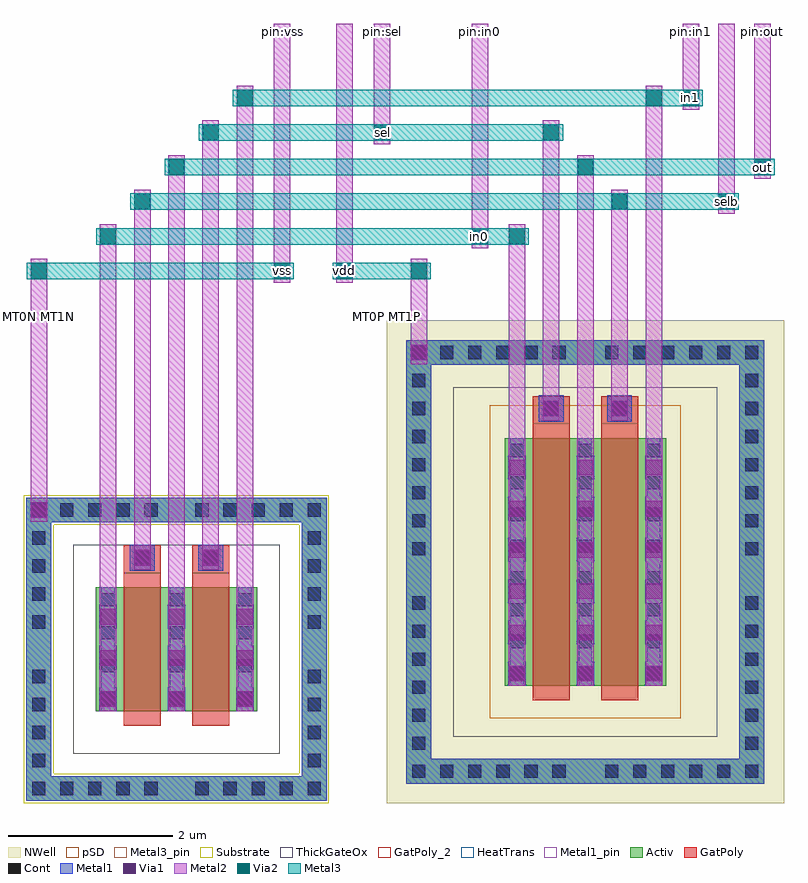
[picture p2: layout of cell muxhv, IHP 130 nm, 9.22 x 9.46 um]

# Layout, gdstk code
import gdstk
lib = gdstk.Library(unit=1e-6, precision=1e-09)
def R(c, l, rs):  # rectangles x0, y0, x1, y1
    for r in rs: c.add(gdstk.rectangle(r[:2], r[2:], *l))
def A(c, l, x, y, w, h, nx, ny, dx, dy):  # array of equal rectangles
    R(c, l, [(x+i*dx, y+j*dy, x+i*dx+w, y+j*dy+h) for i in range(nx) for j in range(ny)])
def P(c, l, *ps):  # polygons
    for p in ps: c.add(gdstk.Polygon(p, *l))
Activ = (1, 0)
GatPoly = (5, 0)
GatPoly_2 = (5, 2)
Cont = (6, 0)
Metal1 = (8, 0)
Metal1_pin = (8, 2)
Metal2 = (10, 0)
pSD = (14, 0)
Via1 = (19, 0)
Via2 = (29, 0)
Metal3 = (30, 0)
Metal3_pin = (30, 2)
NWell = (31, 0)
Substrate = (40, 0)
ThickGateOx = (44, 0)
HeatTrans = (51, 0)

nmoshv = lib.new_cell('nmosHV')
A(nmoshv, Activ, 0, 0, 0.3, 0.3, 3, 1, 0.83, 0)
R(nmoshv, Activ, [(0,0,1.96,1.5)])
R(nmoshv, GatPoly, [(0.34,-0.18,0.79,1.68), (1.17,-0.18,1.62,1.68)])
R(nmoshv, GatPoly_2, [(0.34,-0.18,0.79,1.68)])
A(nmoshv, Cont, 0.07, 0.07, 0.16, 0.16, 3, 4, 0.83, 0.4)
A(nmoshv, Metal1, 0.07, 0, 0.16, 1.5, 3, 1, 0.83, 0)
R(nmoshv, Metal1_pin, [(0.07,0,0.23,1.5), (0.9,0,1.06,1.5)])
R(nmoshv, ThickGateOx, [(-0.27,-0.52,2.23,2.02)])
R(nmoshv, HeatTrans, [(0.34,-0.18,0.79,1.68), (1.17,-0.18,1.62,1.68)])
nmoshv.add(gdstk.Label('nmosHV', (0.565,0.75), layer=63, texttype=0))
nmoshv.add(gdstk.Label('nmosHV', (0.565,0.75), layer=51, texttype=0))
nmoshv.add(gdstk.Label('nmosHV', (1.395,0.75), layer=51, texttype=0))

guard_ring = lib.new_cell('guard_ring')
R(guard_ring, Activ, [(-1.82,-1.54,-1.52,1.54), (1.52,-1.54,1.82,1.54), (-1.82,1.54,1.82,1.84)])
P(guard_ring, Activ, [(-1.82,-1.84),(-1.82,1.54),(-1.52,1.54),(-1.52,-1.54),(1.52,-1.54),(1.52,1.54),(-1.82,1.54),(-1.82,1.84),(1.82,1.84),(1.82,-1.84)])
A(guard_ring, Cont, -1.75, -1.77, 0.16, 0.16, 5, 2, 0.34, 3.38)
A(guard_ring, Cont, 0.23, -1.77, 0.16, 0.16, 5, 2, 0.34, 3.38)
A(guard_ring, Cont, -1.75, -1.43, 0.16, 0.16, 1, 4, 0, 0.34)
A(guard_ring, Cont, 1.59, -1.43, 0.16, 0.16, 1, 4, 0, 0.34)
A(guard_ring, Cont, -1.75, 0.25, 0.16, 0.16, 1, 4, 0, 0.34)
A(guard_ring, Cont, 1.59, 0.25, 0.16, 0.16, 1, 4, 0, 0.34)
R(guard_ring, Metal1, [(-1.82,-1.84,1.82,-1.54), (-1.82,-1.54,-1.52,1.54), (1.52,-1.54,1.82,1.54), (-1.82,1.54,1.82,1.84)])
R(guard_ring, pSD, [(-1.85,-1.51,-1.49,1.51), (1.49,-1.51,1.85,1.51), (-1.85,1.51,1.85,1.87)])
P(guard_ring, pSD, [(-1.85,-1.87),(-1.85,1.51),(-1.49,1.51),(-1.49,-1.51),(1.49,-1.51),(1.49,1.51),(-1.85,1.51),(-1.85,1.87),(1.85,1.87),(1.85,-1.87)])
R(guard_ring, Substrate, [(-1.85,-1.51,-1.49,1.51), (1.49,-1.51,1.85,1.51), (-1.85,1.51,1.85,1.87)])
P(guard_ring, Substrate, [(-1.85,-1.87),(-1.85,1.51),(-1.49,1.51),(-1.49,-1.51),(1.49,-1.51),(1.49,1.51),(-1.85,1.51),(-1.85,1.87),(1.85,1.87),(1.85,-1.87)])
guard_ring.add(gdstk.Label('sub!', (0,-1.69), layer=63, texttype=0))

pmoshv = lib.new_cell('pmosHV')
A(pmoshv, Activ, 0, 0, 0.3, 0.3, 3, 1, 0.83, 0)
R(pmoshv, Activ, [(0,0,1.96,3)])
R(pmoshv, GatPoly, [(0.34,-0.18,0.79,3.18), (1.17,-0.18,1.62,3.18)])
R(pmoshv, GatPoly_2, [(0.34,-0.18,0.79,3.18)])
A(pmoshv, Cont, 0.07, 0.07, 0.16, 0.16, 3, 7, 0.83, 0.385)
A(pmoshv, Cont, 0.07, 2.77, 0.16, 0.16, 3, 1, 0.83, 0)
A(pmoshv, Metal1, 0.07, 0, 0.16, 3, 3, 1, 0.83, 0)
R(pmoshv, Metal1_pin, [(0.07,0,0.23,3), (0.9,0,1.06,3)])
R(pmoshv, pSD, [(-0.18,-0.4,2.14,3.4)])
R(pmoshv, NWell, [(-0.62,-0.62,2.58,3.62)])
R(pmoshv, ThickGateOx, [(-0.62,-0.62,2.58,3.62)])
R(pmoshv, HeatTrans, [(0.34,-0.18,0.79,3.18), (1.17,-0.18,1.62,3.18)])
pmoshv.add(gdstk.Label('pmosHV', (0.565,1.5), layer=63, texttype=0))
pmoshv.add(gdstk.Label('pmos', (0.565,1.5), layer=51, texttype=0))
pmoshv.add(gdstk.Label('pmos', (1.395,1.5), layer=51, texttype=0))

guard_ring_1 = lib.new_cell('guard_ring$1')
R(guard_ring_1, Activ, [(-2.17,-2.39,-1.87,2.39), (1.87,-2.39,2.17,2.39), (-2.17,2.39,2.17,2.69)])
P(guard_ring_1, Activ, [(-2.17,-2.69),(-2.17,2.39),(-1.87,2.39),(-1.87,-2.39),(1.87,-2.39),(1.87,2.39),(-2.17,2.39),(-2.17,2.69),(2.17,2.69),(2.17,-2.69)])
A(guard_ring_1, Cont, -2.1, -2.62, 0.16, 0.16, 6, 2, 0.34, 5.08)
A(guard_ring_1, Cont, 0.24, -2.62, 0.16, 0.16, 6, 2, 0.34, 5.08)
A(guard_ring_1, Cont, -2.1, -2.28, 0.16, 0.16, 1, 6, 0, 0.34)
A(guard_ring_1, Cont, 1.94, -2.28, 0.16, 0.16, 1, 6, 0, 0.34)
A(guard_ring_1, Cont, -2.1, 0.08, 0.16, 0.16, 1, 7, 0, 0.34)
A(guard_ring_1, Cont, 1.94, 0.08, 0.16, 0.16, 1, 7, 0, 0.34)
R(guard_ring_1, Metal1, [(-2.17,-2.69,2.17,-2.39), (-2.17,-2.39,-1.87,2.39), (1.87,-2.39,2.17,2.39), (-2.17,2.39,2.17,2.69)])
R(guard_ring_1, NWell, [(-2.41,-2.93,2.41,2.93)])
guard_ring_1.add(gdstk.Label('well', (0,-2.54), layer=63, texttype=0))

muxhv = lib.new_cell('muxhv')
R(muxhv, GatPoly, [(1.21,2.8,1.66,3.13), (2.04,2.8,2.49,3.13), (6.17,4.61,6.62,4.94), (7,4.61,7.45,4.94)])
R(muxhv, Cont, [(1.355,2.9,1.515,3.06), (2.185,2.9,2.345,3.06), (6.315,4.71,6.475,4.87), (7.145,4.71,7.305,4.87)])
A(muxhv, Metal1, 0.915, 1.12, 0.21, 0.29, 3, 3, 0.83, 0.5)
A(muxhv, Metal1, 5.875, 1.43, 0.21, 0.29, 3, 6, 0.83, 0.5)
R(muxhv, Metal1, [(1.285,2.82,1.585,3.14), (2.115,2.82,2.415,3.14), (1.33,2.835,1.54,3.125), (2.16,2.835,2.37,3.125), (0.075,3.415,0.285,3.705), (6.245,4.63,6.545,4.95), (7.075,4.63,7.375,4.95), (6.29,4.645,6.5,4.935), (7.12,4.645,7.33,4.935), (4.685,5.325,4.895,5.615)])
R(muxhv, Metal2, [(0.92,1.12,1.12,7.025), (1.75,1.12,1.95,7.865), (2.58,1.12,2.78,8.705), (5.88,1.43,6.08,7.025), (6.71,1.43,6.91,7.865), (7.54,1.43,7.74,8.705), (1.335,2.835,1.535,7.445), (2.165,2.835,2.365,8.285), (0.08,3.415,0.28,6.605), (6.295,4.645,6.495,8.285), (7.125,4.645,7.325,7.445), (4.69,5.325,4.89,6.605), (3.03,6.315,3.23,9.46), (3.79,6.315,3.99,9.46), (5.43,6.735,5.63,9.46), (8.425,7.155,8.625,9.46), (8.86,7.575,9.06,9.46), (4.245,7.995,4.445,9.46), (7.99,8.415,8.19,9.46)])
A(muxhv, Via1, 0.925, 1.17, 0.19, 0.19, 3, 3, 0.83, 0.5)
A(muxhv, Via1, 5.885, 1.48, 0.19, 0.19, 3, 6, 0.83, 0.5)
R(muxhv, Via1, [(1.34,2.885,1.53,3.075), (2.17,2.885,2.36,3.075), (0.085,3.465,0.275,3.655), (6.3,4.695,6.49,4.885), (7.13,4.695,7.32,4.885), (4.695,5.375,4.885,5.565)])
R(muxhv, Via2, [(0.085,6.365,0.275,6.555), (3.035,6.365,3.225,6.555), (3.795,6.365,3.985,6.555), (4.695,6.365,4.885,6.555), (0.925,6.785,1.115,6.975), (5.435,6.785,5.625,6.975), (5.885,6.785,6.075,6.975), (1.34,7.205,1.53,7.395), (7.13,7.205,7.32,7.395), (8.43,7.205,8.62,7.395), (1.755,7.625,1.945,7.815), (6.715,7.625,6.905,7.815), (8.865,7.625,9.055,7.815), (2.17,8.045,2.36,8.235), (4.25,8.045,4.44,8.235), (6.3,8.045,6.49,8.235), (2.585,8.465,2.775,8.655), (7.545,8.465,7.735,8.655), (7.995,8.465,8.185,8.655)])
R(muxhv, Metal3, [(0.035,6.36,3.275,6.56), (3.745,6.36,4.935,6.56), (0.875,6.78,6.125,6.98), (1.29,7.2,8.67,7.4), (1.705,7.62,9.105,7.82), (2.12,8.04,6.54,8.24), (2.535,8.46,8.235,8.66)])
R(muxhv, Metal3_pin, [(3.065,6.395,3.195,6.525), (3.825,6.395,3.955,6.525), (5.465,6.815,5.595,6.945), (8.46,7.235,8.59,7.365), (8.895,7.655,9.025,7.785), (4.28,8.075,4.41,8.205), (8.025,8.495,8.155,8.625)])
R(muxhv, ThickGateOx, [(0.6,0.6,3.1,3.14), (5.21,0.81,8.41,5.05)])
muxhv.add(gdstk.Reference(nmoshv, (0.87,1.12)))
muxhv.add(gdstk.Reference(guard_ring, (1.85,1.87)))
muxhv.add(gdstk.Reference(pmoshv, (5.83,1.43)))
muxhv.add(gdstk.Reference(guard_ring_1, (6.81,2.93)))
muxhv.add(gdstk.Label('in0', (5.53,6.88), layer=30, texttype=25))
muxhv.add(gdstk.Label('in1', (8.09,8.56), layer=30, texttype=25))
muxhv.add(gdstk.Label('sel', (4.345,8.14), layer=30, texttype=25))
muxhv.add(gdstk.Label('selb', (8.525,7.3), layer=30, texttype=25))
muxhv.add(gdstk.Label('out', (8.96,7.72), layer=30, texttype=25))
muxhv.add(gdstk.Label('vdd', (3.89,6.46), layer=30, texttype=25))
muxhv.add(gdstk.Label('vss', (3.13,6.46), layer=30, texttype=25))
muxhv.add(gdstk.Label('MT0N MT1N', (0,5.91), layer=63, texttype=0))
muxhv.add(gdstk.Label('MT0P MT1P', (4.4,5.91), layer=63, texttype=0))
muxhv.add(gdstk.Label('pin:in0', (5.53,9.36), layer=63, texttype=0))
muxhv.add(gdstk.Label('pin:in1', (8.09,9.36), layer=63, texttype=0))
muxhv.add(gdstk.Label('pin:sel', (4.345,9.36), layer=63, texttype=0))
muxhv.add(gdstk.Label('pin:selb', (8.525,9.36), layer=63, texttype=0))
muxhv.add(gdstk.Label('pin:out', (8.96,9.36), layer=63, texttype=0))
muxhv.add(gdstk.Label('pin:vdd', (3.89,9.36), layer=63, texttype=0))
muxhv.add(gdstk.Label('pin:vss', (3.13,9.36), layer=63, texttype=0))

lib.write_gds('muxhv.gds')
